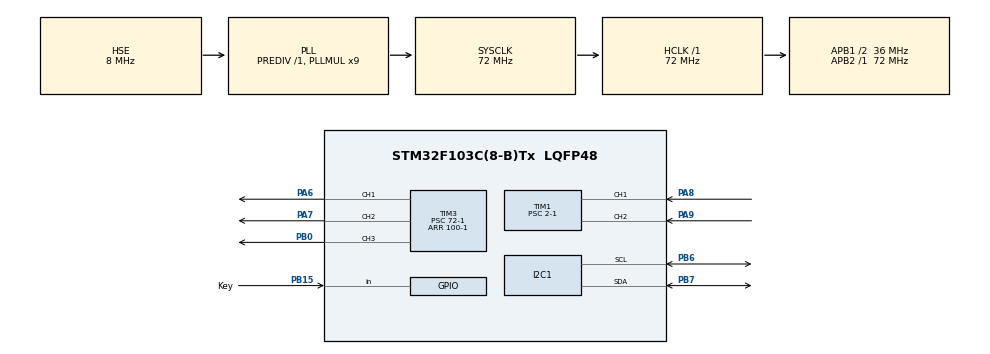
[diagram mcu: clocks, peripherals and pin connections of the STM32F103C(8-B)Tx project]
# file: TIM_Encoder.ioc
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Mcu.Family=STM32F1
Mcu.Name=STM32F103C(8-B)Tx
Mcu.Package=LQFP48
NVIC.PriorityGroup=NVIC_PRIORITYGROUP_4
PA13.Mode=Serial_Wire
PA13.Signal=SYS_JTMS-SWDIO
PA14.Mode=Serial_Wire
PA14.Signal=SYS_JTCK-SWCLK
PA6.Signal=S_TIM3_CH1
PA7.Signal=S_TIM3_CH2
PA8.Signal=S_TIM1_CH1
PA9.Signal=S_TIM1_CH2
PB0.Signal=S_TIM3_CH3
PB15.GPIO_Label=Key
PB15.GPIO_PuPd=GPIO_PULLUP
PB15.Signal=GPIO_Input
PB6.Mode=I2C
PB6.Signal=I2C1_SCL
PB7.Mode=I2C
PB7.Signal=I2C1_SDA
PD0-OSC_IN.Mode=HSE-External-Oscillator
PD0-OSC_IN.Signal=RCC_OSC_IN
PD1-OSC_OUT.Mode=HSE-External-Oscillator
PD1-OSC_OUT.Signal=RCC_OSC_OUT
ProjectManager.HeapSize=0x200
ProjectManager.StackSize=0x400
ProjectManager.TargetToolchain=STM32CubeIDE
RCC.AHBFreq_Value=72000000
RCC.APB1CLKDivider=RCC_HCLK_DIV2
RCC.APB1Freq_Value=36000000
RCC.APB1TimFreq_Value=72000000
RCC.APB2Freq_Value=72000000
RCC.APB2TimFreq_Value=72000000
RCC.HCLKFreq_Value=72000000
RCC.PLLMUL=RCC_PLL_MUL9
RCC.PLLSourceVirtual=RCC_PLLSOURCE_HSE
RCC.SYSCLKFreq_VALUE=72000000
RCC.SYSCLKSource=RCC_SYSCLKSOURCE_PLLCLK
RCC.USBFreq_Value=72000000
SH.S_TIM1_CH1.0=TIM1_CH1,Encoder_Interface
SH.S_TIM1_CH2.0=TIM1_CH2,Encoder_Interface
SH.S_TIM3_CH1.0=TIM3_CH1,PWM Generation1 CH1
SH.S_TIM3_CH2.0=TIM3_CH2,PWM Generation2 CH2
SH.S_TIM3_CH3.0=TIM3_CH3,PWM Generation3 CH3
TIM1.ClockDivision=TIM_CLOCKDIVISION_DIV1
TIM1.IC1Filter=15
TIM1.IC2Filter=15
TIM1.IC2Polarity=TIM_ICPOLARITY_FALLING
TIM1.Prescaler=2-1
TIM3.Channel-PWM\ Generation1\ CH1=TIM_CHANNEL_1
TIM3.Channel-PWM\ Generation2\ CH2=TIM_CHANNEL_2
TIM3.Channel-PWM\ Generation3\ CH3=TIM_CHANNEL_3
TIM3.Period=100-1
TIM3.Prescaler=72-1
VP_TIM3_VS_ClockSourceINT.Mode=Internal
board=custom

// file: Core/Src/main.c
/* USER CODE BEGIN Header */
/**
  ******************************************************************************
  * @file           : main.c
  * @brief          : Main program body
  ******************************************************************************
  * @attention
  *
  * Copyright (c) 2024 STMicroelectronics.
  * All rights reserved.
  *
  * This software is licensed under terms that can be found in the LICENSE file
  * in the root directory of this software component.
  * If no LICENSE file comes with this software, it is provided AS-IS.
  *
  ******************************************************************************
  */
/* USER CODE END Header */
#include "main.h"
#include "i2c.h"
#include "tim.h"
#include "gpio.h"

/* USER CODE BEGIN Includes */
#include "oled.h"
#include <stdio.h>
/* USER CODE END Includes */

void SystemClock_Config(void);

int main(void)
{

  /* MCU Configuration--------------------------------------------------------*/

  /* Reset of all peripherals, Initializes the Flash interface and the Systick. */
  HAL_Init();

  /* Configure the system clock */
  SystemClock_Config();

  /* Initialize all configured peripherals */
  MX_GPIO_Init();
  MX_I2C1_Init();
  MX_TIM1_Init();
  MX_TIM3_Init();
  /* USER CODE BEGIN 2 */
  int channel_index = 0;
  uint32_t channels[3] = {TIM_CHANNEL_1, TIM_CHANNEL_2, TIM_CHANNEL_3};
  HAL_Delay(20);
  OLED_Init();

  HAL_TIM_Encoder_Start(&htim1, TIM_CHANNEL_ALL);

  HAL_TIM_PWM_Start(&htim3, channels[channel_index]);

  int count = 0;
  char message[20] = "";
  /* USER CODE END 2 */

  /* Infinite loop */
  /* USER CODE BEGIN WHILE */
  while (1)
  {
	  OLED_NewFrame();

	  count = __HAL_TIM_GET_COUNTER(&htim1);
	  if (count > 6000){
		  count = 0;
		  __HAL_TIM_SET_COUNTER(&htim1, 0);
	  }else if (count > 100){
		  count = 100;
		  __HAL_TIM_SET_COUNTER(&htim1, 100);
	  }

	  sprintf(message, "count: %d", count);
	  OLED_PrintString(13, 0, message, &font16x16, OLED_COLOR_NORMAL);
	  OLED_DrawRectangle(13, 25, 101, 12, OLED_COLOR_NORMAL);
	  OLED_DrawFilledRectangle(13, 26, count, 11, OLED_COLOR_NORMAL);

	  if (HAL_GPIO_ReadPin(Key_GPIO_Port, Key_Pin) == GPIO_PIN_RESET){
		  HAL_Delay(10);
		  if (HAL_GPIO_ReadPin(Key_GPIO_Port, Key_Pin) == GPIO_PIN_RESET){
			  HAL_TIM_PWM_Stop(&htim3, channels[channel_index]);
			  channel_index = (channel_index + 1) % 3;
			  HAL_TIM_PWM_Start(&htim3, channels[channel_index]);
		  }
		  while (HAL_GPIO_ReadPin(Key_GPIO_Port, Key_Pin) == GPIO_PIN_RESET);
	  }

	  __HAL_TIM_SET_COMPARE(&htim3, channels[channel_index], count);

	  OLED_ShowFrame();
	  HAL_Delay(100);
    /* USER CODE END WHILE */

  }
}

void SystemClock_Config(void)
{
  RCC_OscInitTypeDef RCC_OscInitStruct = {0};
  RCC_ClkInitTypeDef RCC_ClkInitStruct = {0};

  /** Initializes the RCC Oscillators according to the specified parameters
  * in the RCC_OscInitTypeDef structure.
  */
  RCC_OscInitStruct.OscillatorType = RCC_OSCILLATORTYPE_HSE;
  RCC_OscInitStruct.HSEState = RCC_HSE_ON;
  RCC_OscInitStruct.HSEPredivValue = RCC_HSE_PREDIV_DIV1;
  RCC_OscInitStruct.HSIState = RCC_HSI_ON;
  RCC_OscInitStruct.PLL.PLLState = RCC_PLL_ON;
  RCC_OscInitStruct.PLL.PLLSource = RCC_PLLSOURCE_HSE;
  RCC_OscInitStruct.PLL.PLLMUL = RCC_PLL_MUL9;
  if (HAL_RCC_OscConfig(&RCC_OscInitStruct) != HAL_OK)
  {
    Error_Handler();
  }

  /** Initializes the CPU, AHB and APB buses clocks
  */
  RCC_ClkInitStruct.ClockType = RCC_CLOCKTYPE_HCLK|RCC_CLOCKTYPE_SYSCLK
                              |RCC_CLOCKTYPE_PCLK1|RCC_CLOCKTYPE_PCLK2;
  RCC_ClkInitStruct.SYSCLKSource = RCC_SYSCLKSOURCE_PLLCLK;
  RCC_ClkInitStruct.AHBCLKDivider = RCC_SYSCLK_DIV1;
  RCC_ClkInitStruct.APB1CLKDivider = RCC_HCLK_DIV2;
  RCC_ClkInitStruct.APB2CLKDivider = RCC_HCLK_DIV1;

  if (HAL_RCC_ClockConfig(&RCC_ClkInitStruct, FLASH_LATENCY_2) != HAL_OK)
  {
    Error_Handler();
  }
}

void Error_Handler(void)
{
  __disable_irq();
  while (1)
  {
  }
}
